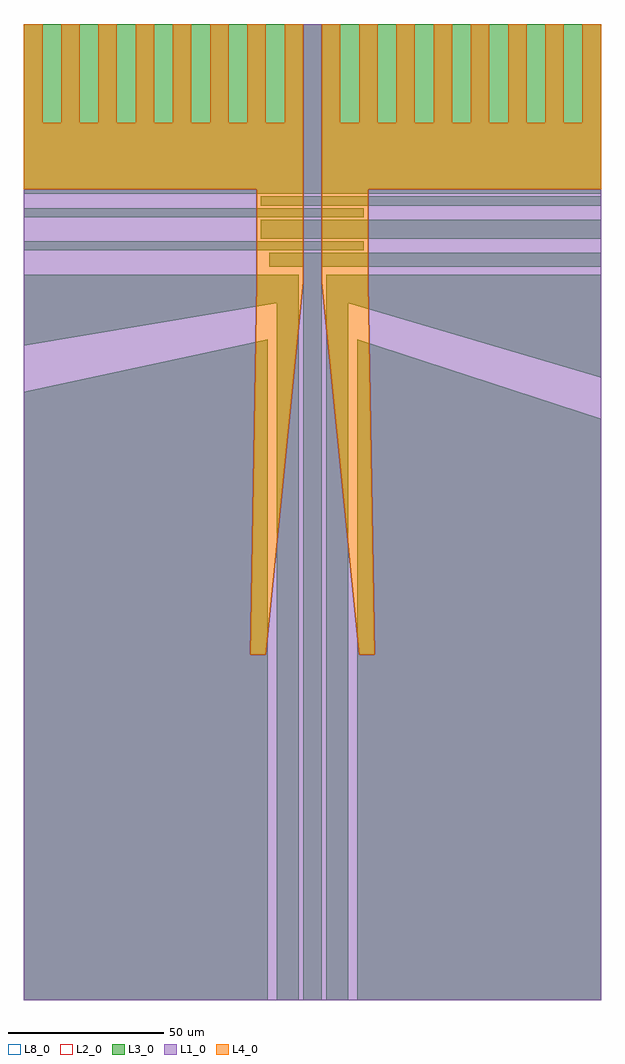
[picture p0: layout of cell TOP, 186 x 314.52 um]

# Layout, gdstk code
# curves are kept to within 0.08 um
import gdstk
lib = gdstk.Library(unit=1e-6, precision=1e-09)
def R(c, l, rs):  # rectangles x0, y0, x1, y1
    for r in rs: c.add(gdstk.rectangle(r[:2], r[2:], *l))
def P(c, l, *ps):  # polygons
    for p in ps: c.add(gdstk.Polygon(p, *l))
L1_0 = (1, 0)
L2_0 = (2, 0)
L3_0 = (3, 0)
L4_0 = (4, 0)
L8_0 = (8, 0)

top = lib.new_cell('TOP')
P(top, L1_0, [(-93,1905.635),(-93,2166.873),(-18,2166.873),(-18,2136.921),(-20,2016.921),(-15,2016.921),(-3,2136.921),(-3,2220.151),(3,2220.151),(3,2136.921),(15,2016.921),(20,2016.921),(18,2136.921),(18,2166.873),(93,2166.873),(93,1905.635)])
R(top, L2_0, [(-93,1905.635,93,2220.151)])
R(top, L3_0, [(-93,2147.221,16.478,2150.221), (-16.686,2151.021,93,2157.021), (-93,2157.821,16.478,2160.821), (-16.686,2161.621,93,2164.621), (-93,2165.421,93,2220.151)])
P(top, L3_0, [(14.5,1905.635),(14.5,2118.629),(93,2092.952),(93,1905.635)],
  [(-93,1905.635),(-93,2101.64),(-14.5,2118.629),(-14.5,1905.635)],
  [(-3,1905.635),(-3,2141.921),(-14,2141.921),(-14,2146.421),(93,2146.421),(93,2141.921),(3,2141.921),(3,1905.635)],
  [(-11.5,1905.635),(-11.5,2130.148),(-93,2116.432),(-93,2139.421),(-4.5,2139.421),(-4.5,1905.635)],
  [(4.5,1905.635),(4.5,2139.421),(93,2139.421),(93,2106.095),(11.5,2130.148),(11.501,1905.635)])
P(top, L4_0, [(-20,2016.921),(-18,2136.921),(-18,2166.873),(-93,2166.873),(-93,2220.151),(-87,2220.151),(-87,2188.315),(-81,2188.315),(-81,2220.151),(-75,2220.151),(-75,2188.315),(-69,2188.315),(-69,2220.151),(-63,2220.151),(-63,2188.315),(-57,2188.315),(-57,2220.151),(-51,2220.151),(-51,2188.315),(-45,2188.315),(-45,2220.151),(-39,2220.151),(-39,2188.315),(-33,2188.315),(-33,2220.151),(-27,2220.151),(-27,2188.315),(-21,2188.315),(-21,2220.151),(-15,2220.151),(-15,2188.315),(-9,2188.315),(-9,2220.151),(-3,2220.151),(-3,2136.921),(-15,2016.921)],
  [(15,2016.921),(3,2136.921),(3,2220.151),(9,2220.151),(9,2188.315),(15,2188.315),(15,2220.151),(21,2220.151),(21,2188.315),(27,2188.315),(27,2220.151),(33,2220.151),(33,2188.315),(39,2188.315),(39,2220.151),(45,2220.151),(45,2188.315),(51,2188.315),(51,2220.151),(57,2220.151),(57,2188.315),(63,2188.315),(63,2220.151),(69,2220.151),(69,2188.315),(75,2188.315),(75,2220.151),(81,2220.151),(81,2188.315),(87,2188.315),(87,2220.151),(93,2220.151),(93,2166.873),(18,2166.873),(18,2136.921),(20,2016.921)])
R(top, L8_0, [(-93,1905.635,93,2220.151)])

lib.write_gds('TOP.gds')
